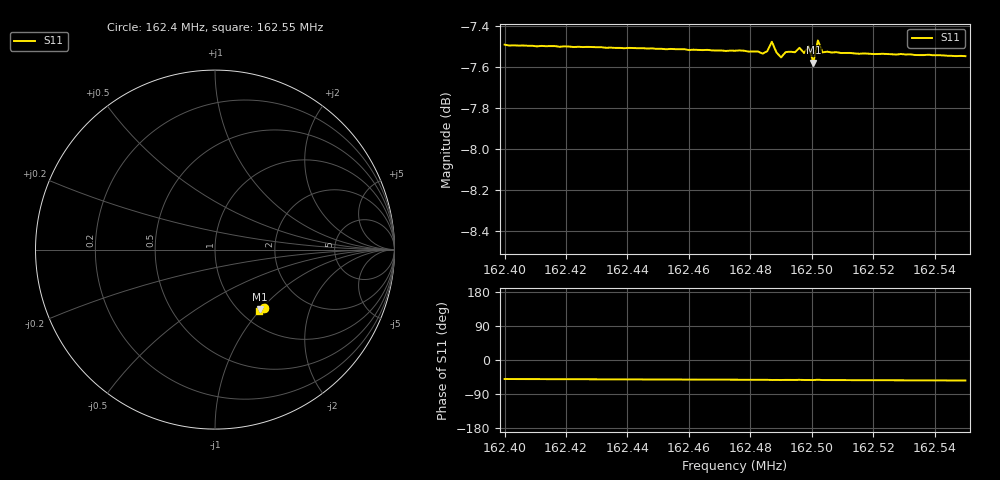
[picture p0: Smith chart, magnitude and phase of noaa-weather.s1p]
! Calibrated averaged scanner-service zoom
# Hz S RI R 50
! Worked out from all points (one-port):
!   101 points, 162.4 MHz to 162.55 MHz, reference 50 ohm
!   lowest |S11| = -7.6 dB at 162.5005 MHz (marker M1), VSWR 2.44, Z = 61.5 - j49.7 ohm
!   |S11| at or under -10 dB: nowhere
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1.624e8  0.2704 -0.3241
1.62403e8  0.2699 -0.3243
1.624045e8  0.2694 -0.3246
1.62406e8  0.2694 -0.3246
1.62418e8  0.2673 -0.326
1.624195e8  0.2672 -0.3262
1.624375e8  0.2643 -0.3281
1.62457e8  0.2616 -0.3299
1.62475e8  0.2589 -0.3315
1.624825e8  0.2574 -0.3324
1.62484e8  0.2565 -0.3325
1.624855e8  0.2569 -0.333
1.62487e8  0.2558 -0.3366
1.624885e8  0.2549 -0.3341
1.6249e8  0.2533 -0.3339
1.624915e8  0.2556 -0.3337
1.62493e8  0.2555 -0.3339
1.624945e8  0.255 -0.3341
1.62496e8  0.2574 -0.3336
1.624975e8  0.2544 -0.3343
1.62499e8  0.2549 -0.3359
1.625005e8  0.252 -0.3333
1.62502e8  0.2595 -0.3342
1.625035e8  0.2535 -0.3352
1.62505e8  0.2534 -0.3355
1.625125e8  0.252 -0.3361
1.62532e8  0.2488 -0.3381
1.6255e8  0.2457 -0.3399
